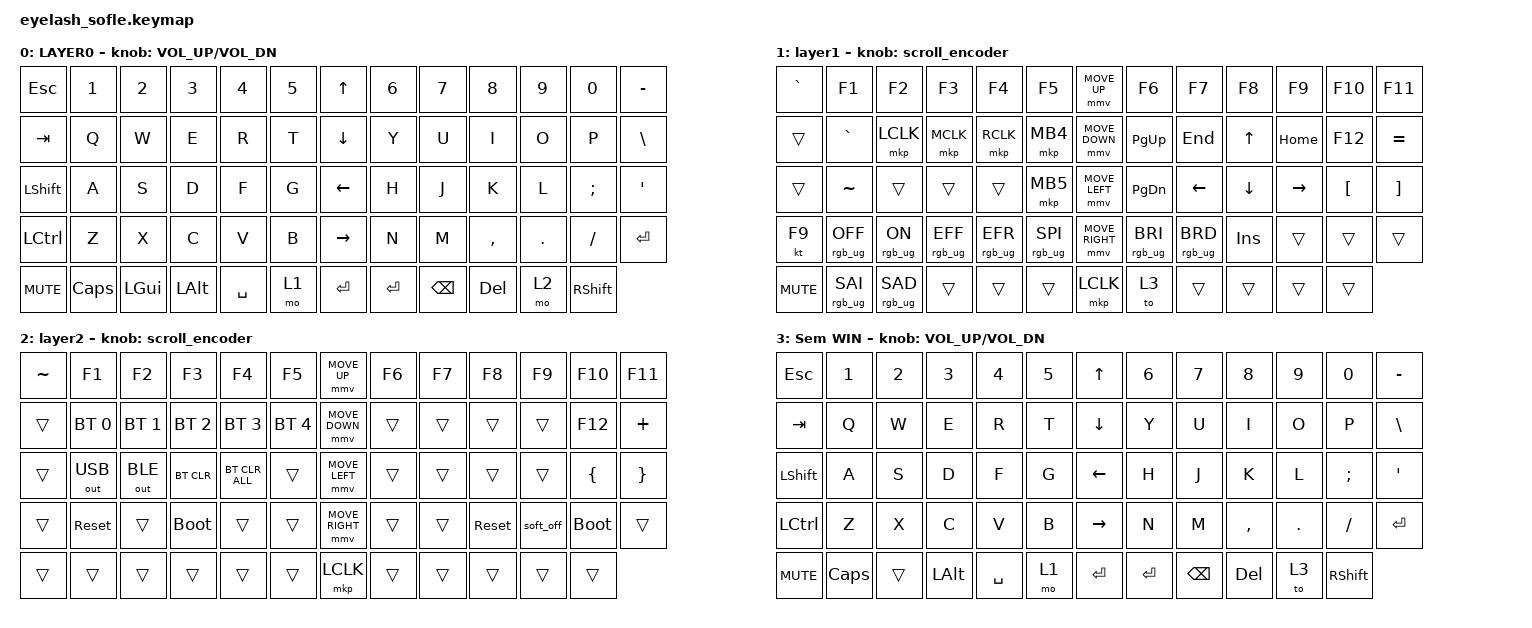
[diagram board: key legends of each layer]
#define ZMK_POINTING_DEFAULT_MOVE_VAL 1200  // 600
#define ZMK_POINTING_DEFAULT_SCRL_VAL 25   // 10

#include <input/processors.dtsi>
#include <zephyr/dt-bindings/input/input-event-codes.h>
#include <behaviors.dtsi>
#include <dt-bindings/zmk/bt.h>
#include <dt-bindings/zmk/keys.h>
#include <dt-bindings/zmk/outputs.h>
#include <dt-bindings/zmk/pointing.h>
#include <dt-bindings/zmk/rgb.h>

&mmv_input_listener { input-processors = <&zip_xy_scaler 2 1>; };

&msc_input_listener { input-processors = <&zip_scroll_scaler 2 1>; };

&msc {
    acceleration-exponent = <1>;      // 0
    time-to-max-speed-ms = <100>;       // 300
    delay-ms = <0>;                   // 0
};

&mmv {
    time-to-max-speed-ms = <500>;
    acceleration-exponent = <1>;
    trigger-period-ms = <16>;
};

&soft_off { hold-time-ms = <2000>; };

/ {
    scroll_encoder: scroll_encoder {
        compatible = "zmk,behavior-sensor-rotate";
        #sensor-binding-cells = <0>;
        bindings = <&msc SCRL_DOWN>, <&msc SCRL_UP>;

        tap-ms = <100>;
    };

    behaviors {
    };

    combos {
        compatible = "zmk,combos";

        softoff {
            bindings = <&soft_off>;
            key-positions = <14 28 40>;
        };
    };

    macros {
        SHIFT_MCLK: SHIFT_MCLK {
            compatible = "zmk,behavior-macro";
            #binding-cells = <0>;
            bindings =
                <&macro_press>,
                <&kp LEFT_SHIFT>,
                <&macro_press>,
                <&mkp MB3>,
                <&macro_pause_for_release>,
                <&macro_release>,
                <&kp LEFT_SHIFT &mkp MB3>;

            label = "SHIFT_MCLK";
        };
    };

    keymap {
        compatible = "zmk,keymap";

        layer0 {
            bindings = <
&kp ESC           &kp N1    &kp N2        &kp N3        &kp N4     &kp N5    &kp UP_ARROW     &kp N6     &kp N7         &kp N8      &kp N9   &kp N0           &kp MINUS
&kp TAB           &kp Q     &kp W         &kp E         &kp R      &kp T     &kp DOWN_ARROW   &kp Y      &kp U          &kp I       &kp O    &kp P            &kp BSLH
&kp LEFT_SHIFT    &kp A     &kp S         &kp D         &kp F      &kp G     &kp LEFT_ARROW   &kp H      &kp J          &kp K       &kp L    &kp SEMI         &kp APOS
&kp LEFT_CONTROL  &kp Z     &kp X         &kp C         &kp V      &kp B     &kp RIGHT_ARROW  &kp N      &kp M          &kp COMMA   &kp DOT  &kp FSLH         &kp ENTER
&kp C_MUTE        &kp CLCK  &kp LEFT_GUI  &kp LEFT_ALT  &kp SPACE  &mo 1     &kp ENTER        &kp ENTER  &kp BACKSPACE  &kp DELETE  &mo 2    &kp RIGHT_SHIFT
            >;

            sensor-bindings = <&inc_dec_kp C_VOLUME_UP C_VOL_DN>;
            display-name = "LAYER0";
        };

        layer_1 {
            bindings = <
&kp GRAVE   &kp F1           &kp F2           &kp F3           &kp F4           &kp F5             &mmv MOVE_UP     &kp F6           &kp F7           &kp F8      &kp F9     &kp F10           &kp F11
&trans      &kp GRAVE        &mkp LCLK        &mkp MCLK        &mkp RCLK        &mkp MB4           &mmv MOVE_DOWN   &kp PG_UP        &kp END          &kp UP      &kp HOME   &kp F12           &kp EQUAL
&trans      &kp TILDE        &trans           &trans           &trans           &mkp MB5           &mmv MOVE_LEFT   &kp PG_DN        &kp LEFT         &kp DOWN    &kp RIGHT  &kp LEFT_BRACKET  &kp RIGHT_BRACKET
&kt F9      &rgb_ug RGB_OFF  &rgb_ug RGB_ON   &rgb_ug RGB_EFF  &rgb_ug RGB_EFR  &rgb_ug RGB_SPI    &mmv MOVE_RIGHT  &rgb_ug RGB_BRI  &rgb_ug RGB_BRD  &kp INSERT  &trans     &trans            &trans
&kp C_MUTE  &rgb_ug RGB_SAI  &rgb_ug RGB_SAD  &trans           &trans           &trans             &mkp LCLK        &to 3            &trans           &trans      &trans     &trans
            >;

            display-name = "layer1";
            sensor-bindings = <&scroll_encoder>;
        };

        layer_2 {
            bindings = <
&kp TILDE  &kp F1        &kp F2        &kp F3        &kp F4          &kp F5          &mmv MOVE_UP     &kp F6  &kp F7  &kp F8      &kp F9     &kp F10      &kp F11
&trans     &bt BT_SEL 0  &bt BT_SEL 1  &bt BT_SEL 2  &bt BT_SEL 3    &bt BT_SEL 4    &mmv MOVE_DOWN   &trans  &trans  &trans      &trans     &kp F12      &kp PLUS
&trans     &out OUT_USB  &out OUT_BLE  &bt BT_CLR    &bt BT_CLR_ALL  &trans          &mmv MOVE_LEFT   &trans  &trans  &trans      &trans     &kp LBRC     &kp RBRC
&trans     &sys_reset    &trans        &bootloader   &trans          &trans          &mmv MOVE_RIGHT  &trans  &trans  &sys_reset  &soft_off  &bootloader  &trans
&trans     &trans        &trans        &trans        &trans          &trans          &mkp LCLK        &trans  &trans  &trans      &trans     &trans
            >;

            display-name = "layer2";
            sensor-bindings = <&scroll_encoder>;
        };

        GAMES {
            display-name = "Sem WIN";
            bindings = <
&kp ESC           &kp N1    &kp N2  &kp N3        &kp N4     &kp N5    &kp UP_ARROW     &kp N6     &kp N7         &kp N8      &kp N9   &kp N0           &kp MINUS
&kp TAB           &kp Q     &kp W   &kp E         &kp R      &kp T     &kp DOWN_ARROW   &kp Y      &kp U          &kp I       &kp O    &kp P            &kp BSLH
&kp LEFT_SHIFT    &kp A     &kp S   &kp D         &kp F      &kp G     &kp LEFT_ARROW   &kp H      &kp J          &kp K       &kp L    &kp SEMI         &kp APOS
&kp LEFT_CONTROL  &kp Z     &kp X   &kp C         &kp V      &kp B     &kp RIGHT_ARROW  &kp N      &kp M          &kp COMMA   &kp DOT  &kp FSLH         &kp ENTER
&kp C_MUTE        &kp CLCK  &trans  &kp LEFT_ALT  &kp SPACE  &mo 1     &kp ENTER        &kp ENTER  &kp BACKSPACE  &kp DELETE  &to 3    &kp RIGHT_SHIFT
            >;

            sensor-bindings = <&inc_dec_kp C_VOLUME_UP C_VOL_DN>;
        };
    };
};
